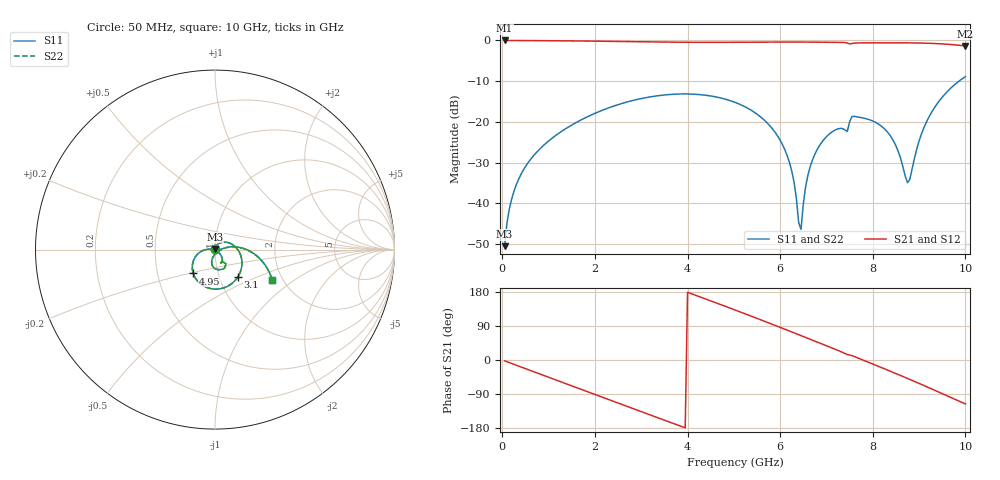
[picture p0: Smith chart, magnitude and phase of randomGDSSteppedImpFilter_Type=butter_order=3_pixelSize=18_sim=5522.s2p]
! freq	dB(S11)	phase(S11)	dB(S12)	phase(S12)
!  dB(S21)	phase(S21)	dB(S22)	phase(S22)
!S-par simulation data
#  GHz  S  DB  R 50
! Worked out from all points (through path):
!   200 points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, 50 MHz to 10 GHz, reference 50 ohm
!   highest |S21| = 0.00 dB at 50 MHz (marker M1); lowest = -1.4 dB at 10 GHz (marker M2)
!   group delay of S21, straight-line fit = 131 ps
!   lowest |S11| = -50.5 dB at 50 MHz (marker M3), VSWR 1.01, Z = 50 + j0.294 ohm
!   |S11| at or under -10 dB: start of sweep to 9.861 GHz
!   |S22| runs from -50.5 to -8.9 dB; largest |S21 - S12| = 0
!   S11 on the Smith chart (normalised r, x): 50 MHz: 1.00, +0.01; 3.1 GHz: 1.23, -0.39; 4.95 GHz: 0.76, -0.21; 10 GHz: 1.77, -0.68
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0.05  -50.52 80.7  -0.00 -2.3  -0.00 -2.3  -50.52 80.5
0.2  -39.04 78.3  -0.02 -9.2  -0.02 -9.2  -39.04 78.4
0.5  -30.98 66.6  -0.03 -22.8  -0.03 -22.8  -30.98 66.6
1.75  -19.23 11.0  -0.14 -79.6  -0.14 -79.6  -19.23 11.1
2.4  -16.15 -18.4  -0.23 -109.1  -0.23 -109.1  -16.14 -18.4
3.1  -14.05 -50.0  -0.35 -140.8  -0.35 -140.8  -14.05 -49.9
3.4  -13.52 -63.4  -0.39 -154.3  -0.39 -154.3  -13.52 -63.3
4.15  -13.21 -96.7  -0.47 172.0  -0.47 172.0  -13.21 -96.7
4.95  -14.90 -132.3  -0.46 135.5  -0.46 135.5  -14.89 -132.3
5.05  -15.31 -136.8  -0.45 130.9  -0.45 130.9  -15.31 -136.8
6.05  -25.58 179.8  -0.39 83.7  -0.39 83.7  -25.58 179.8
6.25  -32.05 174.8  -0.39 74.1  -0.39 74.1  -32.05 174.7
6.45  -46.40 -82.8  -0.40 64.4  -0.40 64.4  -46.56 -82.2
6.55  -35.93 -41.0  -0.40 59.5  -0.40 59.5  -35.94 -40.5
6.7  -29.29 -40.8  -0.41 52.2  -0.41 52.2  -29.29 -40.5
7.1  -22.63 -56.3  -0.46 32.7  -0.46 32.7  -22.63 -56.0
7.45  -22.33 -59.2  -0.64 14.3  -0.64 14.3  -22.24 -58.7
7.55  -18.68 -63.2  -0.75 11.6  -0.75 11.6  -18.64 -63.2
8.35  -22.97 -105.3  -0.59 -28.2  -0.59 -28.2  -22.95 -104.8
8.75  -34.94 -56.7  -0.60 -48.6  -0.60 -48.6  -34.56 -56.4
9.25  -18.05 6.7  -0.71 -75.2  -0.71 -75.2  -18.04 6.2
10  -8.88 -27.7  -1.35 -115.9  -1.35 -115.9  -8.88 -27.9
